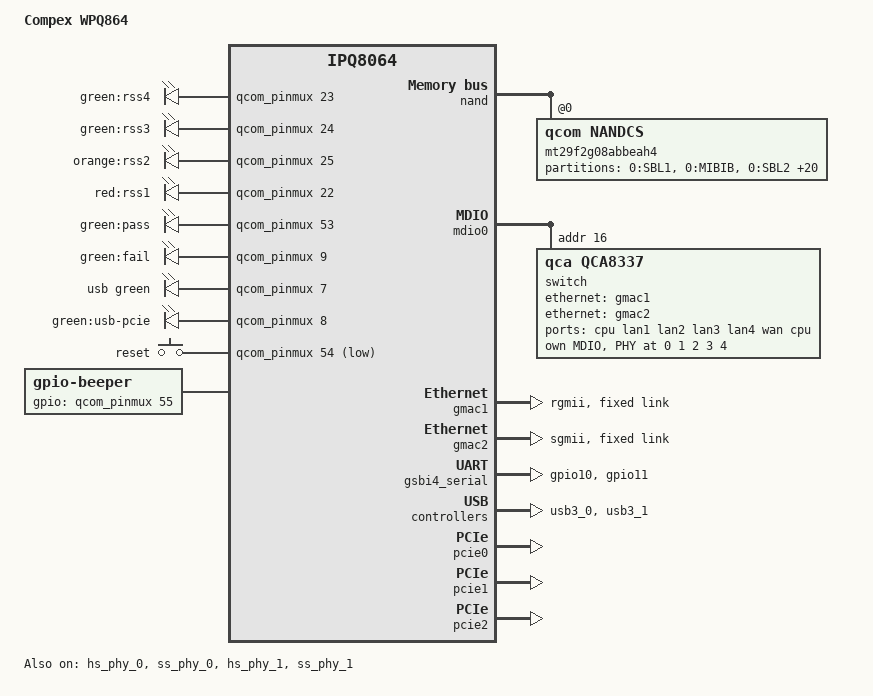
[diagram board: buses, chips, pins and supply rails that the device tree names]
// SPDX-License-Identifier: BSD-3-Clause
/*
 *  Copyright (C) 2017 Christian Mehlis <christian@m3hlis.de>
 *  Copyright (C) 2018 Mathias Kresin <dev@kresin.me>
 *  All rights reserved.
 */

#include "qcom-ipq8064-v1.0.dtsi"

#include <dt-bindings/input/input.h>
#include <dt-bindings/leds/common.h>
#include <dt-bindings/soc/qcom,tcsr.h>

/ {
	compatible = "compex,wpq864", "qcom,ipq8064";
	model = "Compex WPQ864";

	aliases {
		mdio-gpio0 = &mdio0;
		ethernet0 = &gmac1;
		ethernet1 = &gmac0;

		led-boot = &led_pass;
		led-failsafe = &led_fail;
		led-running = &led_pass;
		led-upgrade = &led_pass;
	};

	leds {
		compatible = "gpio-leds";

		pinctrl-0 = <&led_pins>;
		pinctrl-names = "default";

		rss4 {
			label = "green:rss4";
			gpios = <&qcom_pinmux 23 GPIO_ACTIVE_HIGH>;
		};

		rss3 {
			label = "green:rss3";
			gpios = <&qcom_pinmux 24 GPIO_ACTIVE_HIGH>;
			default-state = "keep";
		};

		rss2 {
			label = "orange:rss2";
			gpios = <&qcom_pinmux 25 GPIO_ACTIVE_HIGH>;
		};

		rss1 {
			label = "red:rss1";
			gpios = <&qcom_pinmux 22 GPIO_ACTIVE_HIGH>;
		};

		led_pass: pass {
			label = "green:pass";
			gpios = <&qcom_pinmux 53 GPIO_ACTIVE_HIGH>;
		};

		led_fail: fail {
			label = "green:fail";
			gpios = <&qcom_pinmux 9 GPIO_ACTIVE_HIGH>;
		};

		usb {
			function = LED_FUNCTION_USB;
			color = <LED_COLOR_ID_GREEN>;
			gpios = <&qcom_pinmux 7 GPIO_ACTIVE_HIGH>;
		};

		usb-pcie {
			label = "green:usb-pcie";
			gpios = <&qcom_pinmux 8 GPIO_ACTIVE_HIGH>;
		};
	};

	keys {
		compatible = "gpio-keys";

		pinctrl-0 = <&button_pins>;
		pinctrl-names = "default";

		reset {
			label = "reset";
			gpios = <&qcom_pinmux 54 GPIO_ACTIVE_LOW>;
			linux,code = <KEY_RESTART>;
			debounce-interval = <60>;
			wakeup-source;
		};
	};

	beeper {
		compatible = "gpio-beeper";

		pinctrl-0 = <&beeper_pins>;
		pinctrl-names = "default";

		gpios = <&qcom_pinmux 55 GPIO_ACTIVE_HIGH>;
	};
};

&rpm {
	pinctrl-0 = <&rpm_pins>;
	pinctrl-names = "default";
};

&nand {
	status = "okay";

	pinctrl-0 = <&nand_pins>;
	pinctrl-names = "default";

	mt29f2g08abbeah4@0 {
		compatible = "qcom,nandcs";

		reg = <0>;

		nand-ecc-strength = <4>;
		nand-bus-width = <8>;
		nand-ecc-step-size = <512>;

		nand-is-boot-medium;
		qcom,boot-partitions = <0x0 0x1180000 0x5340000 0x10c0000>;

		partitions {
			compatible = "fixed-partitions";
			#address-cells = <1>;
			#size-cells = <1>;

			partition@0 {
				label = "0:SBL1";
				reg = <0x0000000 0x0040000>;
				read-only;
			};

			partition@40000 {
				label = "0:MIBIB";
				reg = <0x0040000 0x0140000>;
				read-only;
			};

			partition@180000 {
				label = "0:SBL2";
				reg = <0x0180000 0x0140000>;
				read-only;
			};

			partition@2c0000 {
				label = "0:SBL3";
				reg = <0x02c0000 0x0280000>;
				read-only;
			};

			partition@540000 {
				label = "0:DDRCONFIG";
				reg = <0x0540000 0x0120000>;
				read-only;
			};

			partition@660000 {
				label = "0:SSD";
				reg = <0x0660000 0x0120000>;
				read-only;
			};

			partition@780000 {
				label = "0:TZ";
				reg = <0x0780000 0x0280000>;
				read-only;
			};

			partition@a00000 {
				label = "0:RPM";
				reg = <0x0a00000 0x0280000>;
				read-only;
			};

			partition@c80000 {
				label = "0:APPSBL";
				reg = <0x0c80000 0x0500000>;
				read-only;
			};

			partition@1180000 {
				compatible = "u-boot,env";
				label = "0:APPSBLENV";
				reg = <0x1180000 0x0080000>;
				macaddr_ubootenv_ethaddr: ethaddr {};
				macaddr_ubootenv_eth1addr: eth1addr {};
			};

			partition@1200000 {
				label = "0:ART";
				reg = <0x1200000 0x0140000>;
			};

			partition@1340000 {
				label = "ubi";
				reg = <0x1340000 0x4000000>;
			};

			partition@5340000 {
				label = "0:BOOTCONFIG";
				reg = <0x5340000 0x0060000>;
			};

			partition@53a0000 {
				label = "0:SBL2_1";
				reg = <0x53a0000 0x0140000>;
				read-only;
			};

			partition@54e0000 {
				label = "0:SBL3_1";
				reg = <0x54e0000 0x0280000>;
				read-only;
			};

			partition@5760000 {
				label = "0:DDRCONFIG_1";
				reg = <0x5760000 0x0120000>;
				read-only;
			};

			partition@5880000 {
				label = "0:SSD_1";
				reg = <0x5880000 0x0120000>;
				read-only;
			};

			partition@59a0000 {
				label = "0:TZ_1";
				reg = <0x59a0000 0x0280000>;
				read-only;
			};

			partition@5c20000 {
				label = "0:RPM_1";
				reg = <0x5c20000 0x0280000>;
				read-only;
			};

			partition@5ea0000 {
				label = "0:BOOTCONFIG1";
				reg = <0x5ea0000 0x0060000>;
			};

			partition@5f00000 {
				label = "0:APPSBL_1";
				reg = <0x5f00000 0x0500000>;
				read-only;
			};

			partition@6400000 {
				label = "ubi_1";
				reg = <0x6400000 0x4000000>;
			};

			partition@a400000 {
				label = "unused";
				reg = <0xa400000 0x5c00000>;
			};
		};
	};
};

&adm_dma {
	status = "okay";
};

&mdio0 {
	status = "okay";

	pinctrl-0 = <&mdio0_pins>;
	pinctrl-names = "default";

	switch@10 {
		compatible = "qca,qca8337";
		#address-cells = <1>;
		#size-cells = <0>;
		reg = <0x10>;

		ports {
			#address-cells = <1>;
			#size-cells = <0>;

			port@0 {
				reg = <0>;
				label = "cpu";
				ethernet = <&gmac1>;
				phy-mode = "rgmii";
				tx-internal-delay-ps = <1000>;
				rx-internal-delay-ps = <1000>;

				fixed-link {
					speed = <1000>;
					full-duplex;
				};
			};

			port@1 {
				reg = <1>;
				label = "lan1";
				phy-mode = "internal";
				phy-handle = <&phy_port1>;
			};

			port@2 {
				reg = <2>;
				label = "lan2";
				phy-mode = "internal";
				phy-handle = <&phy_port2>;
			};

			port@3 {
				reg = <3>;
				label = "lan3";
				phy-mode = "internal";
				phy-handle = <&phy_port3>;
			};

			port@4 {
				reg = <4>;
				label = "lan4";
				phy-mode = "internal";
				phy-handle = <&phy_port4>;
			};

			port@5 {
				reg = <5>;
				label = "wan";
				phy-mode = "internal";
				phy-handle = <&phy_port5>;
			};

			port@6 {
				reg = <6>;
				label = "cpu";
				ethernet = <&gmac2>;
				phy-mode = "sgmii";
				qca,sgmii-enable-pll;

				fixed-link {
					speed = <1000>;
					full-duplex;
				};
			};
		};

		mdio {
			#address-cells = <1>;
			#size-cells = <0>;

			phy_port1: phy@0 {
				reg = <0>;
			};

			phy_port2: phy@1 {
				reg = <1>;
			};

			phy_port3: phy@2 {
				reg = <2>;
			};

			phy_port4: phy@3 {
				reg = <3>;
			};

			phy_port5: phy@4 {
				reg = <4>;
			};
		};
	};
};

&gmac1 {
	status = "okay";

	pinctrl-0 = <&rgmii2_pins>;
	pinctrl-names = "default";

	phy-mode = "rgmii";
	qcom,id = <1>;
	nvmem-cells = <&macaddr_ubootenv_ethaddr>;
	nvmem-cell-names = "mac-address";

	fixed-link {
		speed = <1000>;
		full-duplex;
	};
};

&gmac2 {
	status = "okay";

	phy-mode = "sgmii";
	qcom,id = <2>;
	nvmem-cells = <&macaddr_ubootenv_eth1addr>;
	nvmem-cell-names = "mac-address";

	fixed-link {
		speed = <1000>;
		full-duplex;
	};
};

&gsbi4_serial {
	pinctrl-0 = <&uart0_pins>;
	pinctrl-names = "default";
};

&flash {
	compatible = "jedec,spi-nor";
	spi-max-frequency = <50000000>;
	reg = <0>;

	partitions {
		compatible = "fixed-partitions";
		#address-cells = <1>;
		#size-cells = <1>;

		partition@0 {
			label = "1:SBL1";
			reg = <0x0 0x20000>;
			read-only;
		};

		partition@20000 {
			label = "1:MIBIB";
			reg = <0x20000 0x20000>;
			read-only;
		};

		partition@40000 {
			label = "1:SBL2";
			reg = <0x40000 0x40000>;
			read-only;
		};

		partition@80000 {
			label = "1:SBL3";
			reg = <0x80000 0x80000>;
			read-only;
		};

		partition@100000 {
			label = "1:DDRCONFIG";
			reg = <0x100000 0x10000>;
			read-only;
		};

		partition@110000 {
			label = "1:TZ";
			reg = <0x110000 0x80000>;
			read-only;
		};

		partition@190000 {
			label = "1:RPM";
			reg = <0x190000 0x80000>;
			read-only;
		};

		partition@2100000 {
			label = "1:APPSBL";
			reg = <0x210000 0x80000>;
			read-only;
		};

		partition@290000 {
			label = "1:APPSBLENV";
			reg = <0x290000 0x40000>;
		};

		partition@2d0000 {
			label = "1:ART";
			reg = <0x2d0000 0x40000>;
			read-only;
		};

		partition@310000 {
			label = "1:HLOS";
			reg = <0x310000 0x0400000>;
		};

		partition@710000 {
			label = "1:rootfs";
			reg = <0x710000 0x1800000>;
		};

		/delete-node/ partition@1;

	};
};

&sata_phy {
	status = "disabled";
};

&sata {
	status = "disabled";
};

&hs_phy_0 {
	status = "okay";
};

&ss_phy_0 {
	status = "okay";

	rx_eq = <2>;
	tx_deamp_3_5db = <32>;
	mpll = <160>;
};

&usb3_0 {
	status = "okay";
};

&hs_phy_1 {
	status = "okay";
};

&ss_phy_1 {
	status = "okay";

	rx_eq = <2>;
	tx_deamp_3_5db = <32>;
	mpll = <160>;
};

&usb3_1 {
	status = "okay";
};

&pcie0 {
	status = "okay";

	/delete-property/ pinctrl-0;
	/delete-property/ pinctrl-names;
	/delete-property/ perst-gpios;
};

&pcie1 {
	status = "okay";
};

&pcie2 {
	status = "okay";

	/delete-property/ pinctrl-0;
	/delete-property/ pinctrl-names;
	/delete-property/ perst-gpios;
};

&qcom_pinmux {
	pinctrl-names = "default";
	pinctrl-0 = <&state_default>;

	state_default: pinctrl0 {
		pcie0_pcie2_perst {
			pins = "gpio3";
			function = "gpio";
			drive-strength = <2>;
			bias-disable;
			output-high;
		};
	};

	led_pins: led_pins {
		mux {
			pins = "gpio7", "gpio8", "gpio9", "gpio22",
			       "gpio23", "gpio24", "gpio25", "gpio53";
			function = "gpio";
			drive-strength = <2>;
			bias-pull-up;
		};
	};

	button_pins: button_pins {
		mux {
			pins = "gpio54";
			function = "gpio";
			drive-strength = <2>;
			bias-pull-up;
		};
	};

	beeper_pins: beeper_pins {
		mux {
			pins = "gpio55";
			function = "gpio";
			drive-strength = <2>;
			bias-pull-up;
		};
	};

	rpm_pins: rpm_pins {
		mux {
			pins = "gpio12", "gpio13";
			function = "gsbi4";
			drive-strength = <10>;
			bias-disable;
		};
	};

	uart0_pins: uart0_pins {
		mux {
			pins = "gpio10", "gpio11";
			function = "gsbi4";
			drive-strength = <10>;
			bias-disable;
		};
	};

	spi_pins: spi_pins {
		mux {
			pins = "gpio18", "gpio19";
			function = "gsbi5";
			drive-strength = <10>;
			bias-pull-down;
		};

		clk {
			pins = "gpio21";
			function = "gsbi5";
			drive-strength = <12>;
			bias-pull-down;
		};

		cs {
			pins = "gpio20";
			function = "gpio";
			drive-strength = <10>;
			bias-pull-up;
		};
	};
};

&tcsr {
	qcom,usb-ctrl-select = <TCSR_USB_SELECT_USB3_DUAL>;
};
